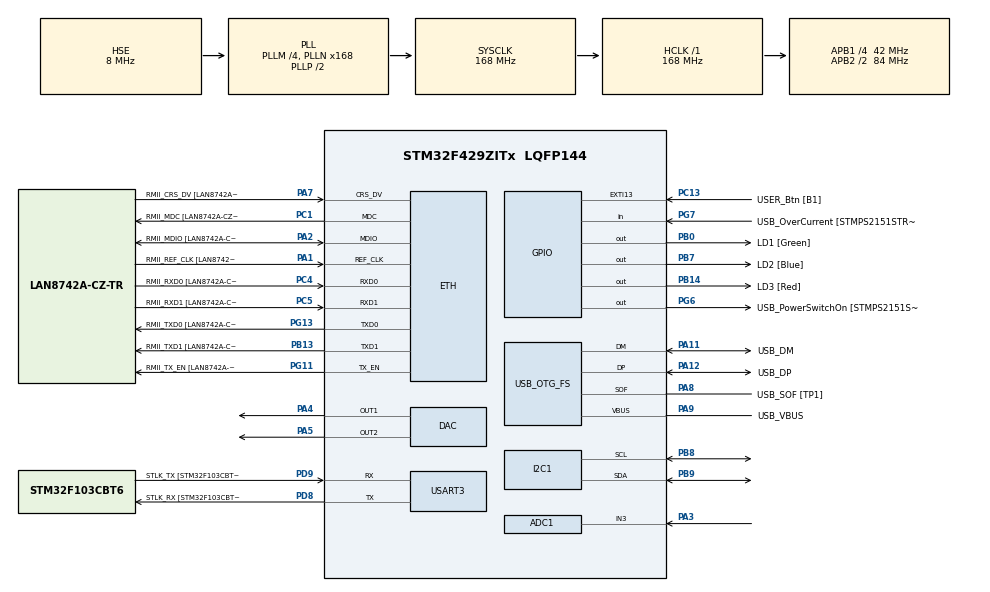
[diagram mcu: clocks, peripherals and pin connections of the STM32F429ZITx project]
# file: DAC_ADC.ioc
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ADC1.Channel-0\#ChannelRegularConversion=ADC_CHANNEL_3
ADC1.NbrOfConversionFlag=1
ADC1.Rank-0\#ChannelRegularConversion=1
ADC1.SamplingTime-0\#ChannelRegularConversion=ADC_SAMPLETIME_3CYCLES
ADC1.master=1
ETH.MediaInterface=HAL_ETH_RMII_MODE
ETH.PHY_Name=LAN8742A_PHY_ADDRESS
ETH.PHY_Value=0
ETH.PhyAddress=0
Mcu.Family=STM32F4
Mcu.Name=STM32F429ZITx
Mcu.Package=LQFP144
NVIC.ADC_IRQn=true\:0\:0\:false\:true\:true\:1\:true\:true\:true
NVIC.PriorityGroup=NVIC_PRIORITYGROUP_4
NVIC.USART3_IRQn=true\:0\:0\:false\:true\:true\:2\:true\:true\:true
PA1.GPIO_Label=RMII_REF_CLK [LAN8742A-CZ-TR_REFCLK0]
PA1.Mode=RMII
PA1.Signal=ETH_REF_CLK
PA10.GPIO_Label=USB_ID
PA10.Signal=USB_OTG_FS_ID
PA11.GPIO_Label=USB_DM
PA11.Mode=Device_Only
PA11.Signal=USB_OTG_FS_DM
PA12.GPIO_Label=USB_DP
PA12.Mode=Device_Only
PA12.Signal=USB_OTG_FS_DP
PA13.GPIO_Label=TMS
PA13.Mode=Serial_Wire
PA13.Signal=SYS_JTMS-SWDIO
PA14.GPIO_Label=TCK
PA14.Mode=Serial_Wire
PA14.Signal=SYS_JTCK-SWCLK
PA2.GPIO_Label=RMII_MDIO [LAN8742A-CZ-TR_MDIO]
PA2.Mode=RMII
PA2.Signal=ETH_MDIO
PA3.Signal=ADCx_IN3
PA4.Signal=COMP_DAC1_group
PA5.Signal=COMP_DAC2_group
PA7.GPIO_Label=RMII_CRS_DV [LAN8742A-CZ-TR_CRS_DV]
PA7.Mode=RMII
PA7.Signal=ETH_CRS_DV
PA8.GPIO_Label=USB_SOF [TP1]
PA8.Mode=Activate_SOF_FS
PA8.Signal=USB_OTG_FS_SOF
PA9.GPIO_Label=USB_VBUS
PA9.Mode=Activate_VBUS
PA9.Signal=USB_OTG_FS_VBUS
PB0.GPIO_Label=LD1 [Green]
PB0.Signal=GPIO_Output
PB13.GPIO_Label=RMII_TXD1 [LAN8742A-CZ-TR_TXD1]
PB13.Mode=RMII
PB13.Signal=ETH_TXD1
PB14.GPIO_Label=LD3 [Red]
PB14.Signal=GPIO_Output
PB7.GPIO_Label=LD2 [Blue]
PB7.Signal=GPIO_Output
PB8.Mode=I2C
PB8.Signal=I2C1_SCL
PB9.Mode=I2C
PB9.Signal=I2C1_SDA
PC1.GPIO_Label=RMII_MDC [LAN8742A-CZ-TR_MDC]
PC1.Mode=RMII
PC1.Signal=ETH_MDC
PC13.GPIO_Label=USER_Btn [B1]
PC13.Signal=GPXTI13
PC14/OSC32_IN.Mode=LSE-External-Oscillator
PC14/OSC32_IN.Signal=RCC_OSC32_IN
PC15/OSC32_OUT.Mode=LSE-External-Oscillator
PC15/OSC32_OUT.Signal=RCC_OSC32_OUT
PC4.GPIO_Label=RMII_RXD0 [LAN8742A-CZ-TR_RXD0]
PC4.Mode=RMII
PC4.Signal=ETH_RXD0
PC5.GPIO_Label=RMII_RXD1 [LAN8742A-CZ-TR_RXD1]
PC5.Mode=RMII
PC5.Signal=ETH_RXD1
PD8.GPIO_Label=STLK_RX [STM32F103CBT6_PA3]
PD8.Mode=Asynchronous
PD8.Signal=USART3_TX
PD9.GPIO_Label=STLK_TX [STM32F103CBT6_PA2]
PD9.Mode=Asynchronous
PD9.Signal=USART3_RX
PG11.GPIO_Label=RMII_TX_EN [LAN8742A-CZ-TR_TXEN]
PG11.Mode=RMII
PG11.Signal=ETH_TX_EN
PG13.GPIO_Label=RMII_TXD0 [LAN8742A-CZ-TR_TXD0]
PG13.Mode=RMII
PG13.Signal=ETH_TXD0
PG6.GPIO_Label=USB_PowerSwitchOn [STMPS2151STR_EN]
PG6.Signal=GPIO_Output
PG7.GPIO_Label=USB_OverCurrent [STMPS2151STR_FAULT]
PG7.Signal=GPIO_Input
PH0/OSC_IN.GPIO_Label=MCO [STM32F103CBT6_PA8]
PH0/OSC_IN.Mode=HSE-External-Clock-Source
PH0/OSC_IN.Signal=RCC_OSC_IN
PH1/OSC_OUT.Mode=HSE-External-Clock-Source
PH1/OSC_OUT.Signal=RCC_OSC_OUT
ProjectManager.HeapSize=0x200
ProjectManager.StackSize=0x400
ProjectManager.TargetToolchain=STM32CubeIDE
RCC.48MHZClocksFreq_Value=48000000
RCC.AHBFreq_Value=168000000
RCC.APB1CLKDivider=RCC_HCLK_DIV4
RCC.APB1Freq_Value=42000000
RCC.APB1TimFreq_Value=84000000
RCC.APB2CLKDivider=RCC_HCLK_DIV2
RCC.APB2Freq_Value=84000000
RCC.APB2TimCLKDivider=2
RCC.APB2TimFreq_Value=168000000
RCC.CortexFreq_Value=168000000
RCC.HCLKFreq_Value=168000000
RCC.HSE_VALUE=8000000
RCC.HSI_VALUE=16000000
RCC.PLLM=4
RCC.PLLMUL=RCC_PLL_MUL9
RCC.PLLN=168
RCC.PLLQ=7
RCC.PRESCALERUSB=RCC_USBCLKSOURCE_PLL_DIV1_5
RCC.RCC_RTC_Clock_Source=RCC_RTCCLKSOURCE_LSE
RCC.SYSCLKFreq_VALUE=168000000
RCC.SYSCLKSource=RCC_SYSCLKSOURCE_PLLCLK
RCC.SYSCLKSourceVirtual=RCC_SYSCLKSOURCE_PLLCLK
RCC.USBFreq_Value=48000000
RCC.VCOOutputFreq_Value=336000000
SH.ADCx_IN3.0=ADC1_IN3,IN3
SH.COMP_DAC1_group.0=DAC_OUT1,DAC_OUT1
SH.COMP_DAC2_group.0=DAC_OUT2,DAC_OUT2
USART3.VirtualMode=VM_ASYNC
USB_OTG_FS.VirtualMode=Device_Only
VP_RTC_VS_RTC_Activate.Mode=RTC_Enabled
board=NUCLEO-F429ZI

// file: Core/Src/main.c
/* USER CODE BEGIN Header */
/**
  ******************************************************************************
  * @file           : main.c
  * @brief          : Main program body
  ******************************************************************************
  * @attention
  *
  * Copyright (c) 2023 STMicroelectronics.
  * All rights reserved.
  *
  * This software is licensed under terms that can be found in the LICENSE file
  * in the root directory of this software component.
  * If no LICENSE file comes with this software, it is provided AS-IS.
  *
  ******************************************************************************
  */
/* USER CODE END Header */
#include "main.h"
#include "adc.h"
#include "dac.h"
#include "eth.h"
#include "i2c.h"
#include "rtc.h"
#include "usart.h"
#include "usb_otg.h"
#include "gpio.h"

/* USER CODE BEGIN Includes */
#include "stdio.h"
#include "string.h"
/* USER CODE END Includes */

/* USER CODE BEGIN PD */
#define LCD_ADDR (0x27 << 1)
/* USER CODE END PD */

/* USER CODE BEGIN PV */
char uart_buf[70];
char lcd_string[30];
int adc_value = 0;
int dac_value1 = 0;
int dac_value2 = 4095;
/* USER CODE END PV */

void SystemClock_Config(void);
static void MX_NVIC_Init(void);
/* USER CODE BEGIN PFP */
void I2C_Scan(void);
void LCD_SendCommand(uint8_t lcd_addr, uint8_t cmd);
void LCD_SendString(uint8_t lcd_addr, char *str);
void LCD_Init(uint8_t lcd_addr);
/* USER CODE END PFP */

int main(void)
{

  /* MCU Configuration--------------------------------------------------------*/

  /* Reset of all peripherals, Initializes the Flash interface and the Systick. */
  HAL_Init();

  /* Configure the system clock */
  SystemClock_Config();

  /* Initialize all configured peripherals */
  MX_GPIO_Init();
  MX_ETH_Init();
  MX_USART3_UART_Init();
  MX_USB_OTG_FS_PCD_Init();
  MX_ADC1_Init();
  MX_DAC_Init();
  MX_I2C1_Init();
  MX_RTC_Init();

  /* Initialize interrupts */
  MX_NVIC_Init();
  /* USER CODE BEGIN 2 */
  I2C_Scan();
  LCD_Init(LCD_ADDR);

  HAL_DAC_Start(&hdac, DAC_CHANNEL_1);
  HAL_DAC_Start(&hdac, DAC_CHANNEL_2);

  /* USER CODE END 2 */

  /* Infinite loop */
  /* USER CODE BEGIN WHILE */
  while (1)
  {
	  HAL_ADC_Start(&hadc1);
	  HAL_ADC_PollForConversion(&hadc1, 10);
	  adc_value = HAL_ADC_GetValue(&hadc1);

	  dac_value1 = adc_value;
	  dac_value2 = 4095 - adc_value;

	  HAL_DAC_SetValue(&hdac, DAC_CHANNEL_1, DAC_ALIGN_12B_R, dac_value1);
	  HAL_DAC_SetValue(&hdac, DAC_CHANNEL_2, DAC_ALIGN_12B_R, dac_value2);

	  memset(uart_buf, 0, sizeof(uart_buf));
	  sprintf(uart_buf, "ADC Value: %4d  DAC1 Value: %4d  DAC2 Value: %4d\r\n", adc_value, dac_value1, dac_value2);
	  HAL_UART_Transmit(&huart3, (uint8_t *)uart_buf, strlen(uart_buf), HAL_MAX_DELAY);

	  // set address to 0x00
	  LCD_SendCommand(LCD_ADDR, 0b10000000);
	  LCD_SendString(LCD_ADDR, " ADC DAC1 DAC2");

  	  // set address to 0x40
	  LCD_SendCommand(LCD_ADDR, 0b11000000);
	  sprintf(lcd_string, "%4d %4d %4d", adc_value, dac_value1, dac_value2);
	  LCD_SendString(LCD_ADDR, lcd_string);

	  HAL_Delay(250);
    /* USER CODE END WHILE */

  }
}

void SystemClock_Config(void)
{
  RCC_OscInitTypeDef RCC_OscInitStruct = {0};
  RCC_ClkInitTypeDef RCC_ClkInitStruct = {0};

  /** Configure the main internal regulator output voltage
  */
  __HAL_RCC_PWR_CLK_ENABLE();
  __HAL_PWR_VOLTAGESCALING_CONFIG(PWR_REGULATOR_VOLTAGE_SCALE1);

  /** Initializes the RCC Oscillators according to the specified parameters
  * in the RCC_OscInitTypeDef structure.
  */
  RCC_OscInitStruct.OscillatorType = RCC_OSCILLATORTYPE_HSE|RCC_OSCILLATORTYPE_LSE;
  RCC_OscInitStruct.HSEState = RCC_HSE_BYPASS;
  RCC_OscInitStruct.LSEState = RCC_LSE_ON;
  RCC_OscInitStruct.PLL.PLLState = RCC_PLL_ON;
  RCC_OscInitStruct.PLL.PLLSource = RCC_PLLSOURCE_HSE;
  RCC_OscInitStruct.PLL.PLLM = 4;
  RCC_OscInitStruct.PLL.PLLN = 168;
  RCC_OscInitStruct.PLL.PLLP = RCC_PLLP_DIV2;
  RCC_OscInitStruct.PLL.PLLQ = 7;
  if (HAL_RCC_OscConfig(&RCC_OscInitStruct) != HAL_OK)
  {
    Error_Handler();
  }

  /** Initializes the CPU, AHB and APB buses clocks
  */
  RCC_ClkInitStruct.ClockType = RCC_CLOCKTYPE_HCLK|RCC_CLOCKTYPE_SYSCLK
                              |RCC_CLOCKTYPE_PCLK1|RCC_CLOCKTYPE_PCLK2;
  RCC_ClkInitStruct.SYSCLKSource = RCC_SYSCLKSOURCE_PLLCLK;
  RCC_ClkInitStruct.AHBCLKDivider = RCC_SYSCLK_DIV1;
  RCC_ClkInitStruct.APB1CLKDivider = RCC_HCLK_DIV4;
  RCC_ClkInitStruct.APB2CLKDivider = RCC_HCLK_DIV2;

  if (HAL_RCC_ClockConfig(&RCC_ClkInitStruct, FLASH_LATENCY_5) != HAL_OK)
  {
    Error_Handler();
  }
}

/**
  * @brief NVIC Configuration.
  * @retval None
  */
static void MX_NVIC_Init(void)
{
  /* ADC_IRQn interrupt configuration */
  HAL_NVIC_SetPriority(ADC_IRQn, 0, 0);
  HAL_NVIC_EnableIRQ(ADC_IRQn);
  /* USART3_IRQn interrupt configuration */
  HAL_NVIC_SetPriority(USART3_IRQn, 0, 0);
  HAL_NVIC_EnableIRQ(USART3_IRQn);
}

void Error_Handler(void)
{
  __disable_irq();
  while (1)
  {
  }
}
